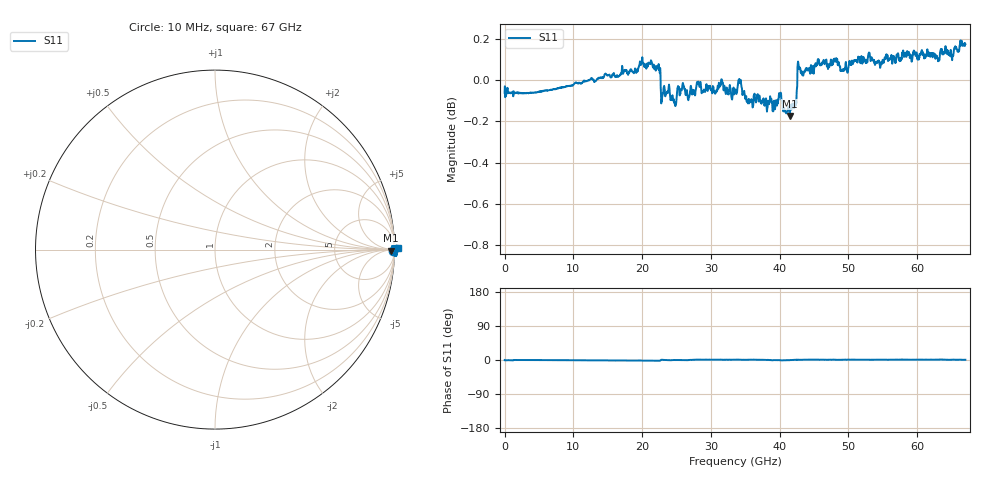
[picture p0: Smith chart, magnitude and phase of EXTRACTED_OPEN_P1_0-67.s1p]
! Generated by Phase I extraction
# Hz S RI R 50
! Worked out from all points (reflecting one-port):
!   1601 points, 10 MHz to 67 GHz, reference 50 ohm
!   lowest |S11| = -0.2 dB at 41.46 GHz (marker M1), VSWR 100.30, Z = 4.61e+03 - j1.37e+03 ohm
!   phase of S11 starts at -0 deg and turns +1 deg over the sweep
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1e7  0.993 -0.00566
9.311125e8  0.9931 -0.011
1.68475e9  0.9931 -0.000186
8.38375e9  0.9961 -0.00791
1.67575e10  1.003 -0.0198
2.228418e10  1.006 -0.0329
2.303781e10  0.9928 0.0065
2.391706e10  0.9975 -0.00732
2.513125e10  0.9955 -0.00174
2.638731e10  0.9926 -0.00661
2.785272e10  0.9954 0.0209
3.212333e10  0.9931 0.0108
3.3505e10  0.9939 0.0157
3.467732e10  0.9924 0.0098
3.643581e10  0.9899 0.0122
3.731506e10  0.9878 0.0121
3.894794e10  0.984 -0.013
4.045521e10  0.9838 -0.0165
4.146006e10  0.9802 -0.0058
4.187875e10  0.9871 0.00278
4.292547e10  1.006 0.00883
4.527012e10  1.008 0.0163
4.861962e10  1.01 0.00688
5.02525e10  1.009 0.0145
5.862625e10  1.015 0.0127
6.335742e10  1.016 0.0244
6.469722e10  1.015 0.0085
6.7e10  1.02 0.00977
